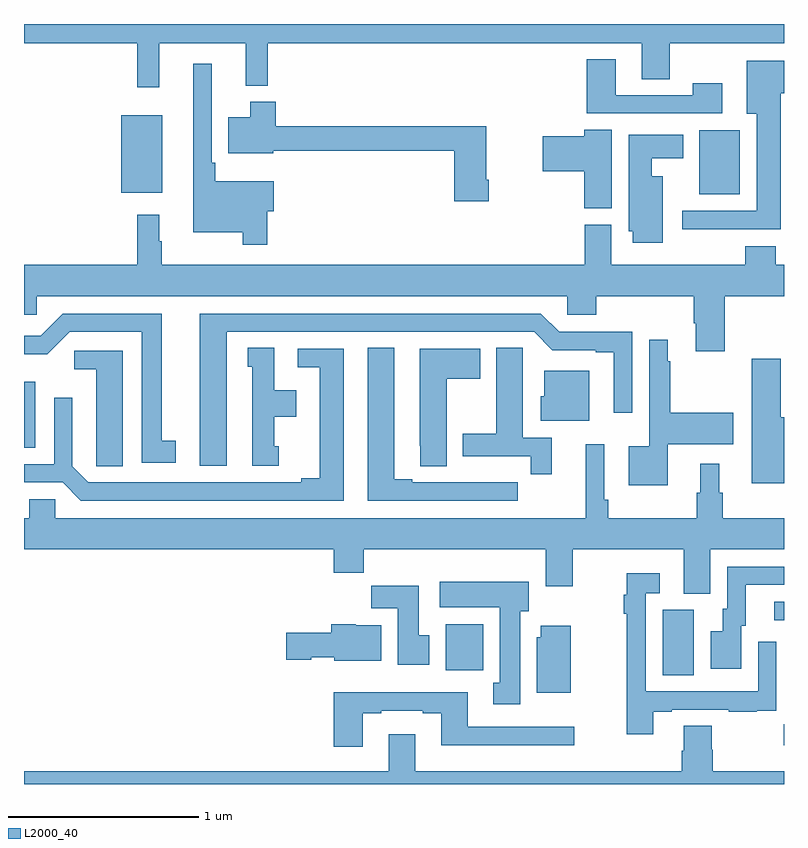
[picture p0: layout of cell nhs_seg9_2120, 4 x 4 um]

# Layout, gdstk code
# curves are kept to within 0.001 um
import gdstk
lib = gdstk.Library(unit=1e-6, precision=1e-09)
def R(c, l, rs):  # rectangles x0, y0, x1, y1
    for r in rs: c.add(gdstk.rectangle(r[:2], r[2:], *l))
def P(c, l, *ps):  # polygons
    for p in ps: c.add(gdstk.Polygon(p, *l))
L2000_40 = (2000, 40)

nhs_seg9_2120 = lib.new_cell('nhs_seg9_2120')
R(nhs_seg9_2120, L2000_40, [(234.999,1212.704,235,1212.814), (234.362,1213.072,234.526,1213.416), (233.219,1213.1,233.416,1213.342), (234.948,1213.362,235,1213.458), (231,1214.269,231.058,1214.617), (234.554,1215.605,234.766,1215.94), (231.512,1215.611,231.727,1216.021)])
P(nhs_seg9_2120, L2000_40, [(231.713,1216.4),(232.166,1216.4),(232.166,1216.175),(232.283,1216.175),(232.283,1216.4),(234.251,1216.4),(234.251,1216.21),(234.399,1216.21),(234.399,1216.4),(235,1216.4),(235,1216.5),(231,1216.5),(231,1216.4),(231.595,1216.4),(231.595,1216.167),(231.713,1216.167)],
  [(234.676,1216.189),(234.52,1216.189),(234.52,1216.125),(234.115,1216.125),(234.115,1216.315),(233.963,1216.315),(233.963,1216.029),(234.676,1216.029)],
  [(234.983,1216.136),(235,1216.136),(235,1216.306),(234.803,1216.306),(234.803,1216.028),(234.857,1216.028),(234.857,1215.516),(234.465,1215.516),(234.465,1215.419),(234.983,1215.419)],
  [(232.28,1215.515),(232.315,1215.515),(232.315,1215.673),(232.007,1215.673),(232.007,1215.769),(231.987,1215.769),(231.987,1216.291),(231.89,1216.291),(231.89,1215.404),(232.152,1215.404),(232.152,1215.339),(232.28,1215.339)],
  [(233.447,1215.679),(233.434,1215.679),(233.434,1215.961),(232.325,1215.961),(232.325,1216.09),(232.19,1216.09),(232.19,1216.009),(232.076,1216.009),(232.076,1215.821),(232.312,1215.821),(232.312,1215.832),(233.264,1215.832),(233.264,1215.567),(233.447,1215.567)],
  [(234.094,1215.944),(233.948,1215.944),(233.948,1215.908),(233.73,1215.908),(233.73,1215.725),(233.948,1215.725),(233.948,1215.529),(234.094,1215.529)],
  [(234.361,1215.7),(234.304,1215.7),(234.304,1215.794),(234.469,1215.794),(234.469,1215.916),(234.182,1215.916),(234.182,1215.408),(234.203,1215.408),(234.203,1215.348),(234.361,1215.348)],
  [(234.689,1215.068),(235,1215.068),(235,1215.232),(234.956,1215.232),(234.956,1215.331),(234.796,1215.331),(234.796,1215.232),(234.091,1215.232),(234.091,1215.444),(233.951,1215.444),(233.951,1215.232),(231.724,1215.232),(231.724,1215.356),(231.712,1215.356),(231.712,1215.496),(231.595,1215.496),(231.595,1215.232),(231,1215.232),(231,1214.97),(231.066,1214.97),(231.066,1215.068),(233.859,1215.068),(233.859,1214.97),(234.011,1214.97),(234.011,1215.068),(234.524,1215.068),(234.524,1214.926),(234.536,1214.926),(234.536,1214.778),(234.689,1214.778)],
  [(231.799,1214.306),(231.724,1214.306),(231.724,1214.976),(231.204,1214.976),(231.087,1214.859),(231,1214.859),(231,1214.763),(231.122,1214.762),(231.24,1214.88),(231.62,1214.88),(231.62,1214.19),(231.799,1214.19)],
  [(232.066,1214.88),(233.685,1214.88),(233.781,1214.784),(234.008,1214.784),(234.008,1214.772),(234.104,1214.772),(234.104,1214.454),(234.201,1214.454),(234.201,1214.88),(233.817,1214.88),(233.721,1214.976),(231.926,1214.976),(231.926,1214.175),(232.066,1214.175)],
  [(234.388,1214.288),(234.733,1214.288),(234.733,1214.454),(234.4,1214.454),(234.4,1214.726),(234.388,1214.726),(234.388,1214.839),(234.291,1214.839),(234.291,1214.278),(234.182,1214.278),(234.182,1214.072),(234.388,1214.072)],
  [(233.777,1214.322),(233.626,1214.322),(233.626,1214.684),(233.625,1214.684),(233.625,1214.795),(233.486,1214.795),(233.486,1214.343),(233.309,1214.343),(233.309,1214.226),(233.668,1214.226),(233.668,1214.13),(233.777,1214.13)],
  [(233.599,1214.088),(233.486,1214.088),(233.486,1214.089),(233.32,1214.089),(233.32,1214.088),(233.044,1214.088),(233.044,1214.103),(232.948,1214.103),(232.948,1214.795),(232.808,1214.795),(232.808,1213.992),(233.599,1213.992)],
  [(232.342,1214.277),(232.318,1214.277),(232.318,1214.432),(232.432,1214.432),(232.432,1214.572),(232.318,1214.572),(232.318,1214.795),(232.178,1214.795),(232.178,1214.697),(232.202,1214.697),(232.202,1214.175),(232.342,1214.175)],
  [(233.224,1214.632),(233.401,1214.632),(233.401,1214.791),(233.084,1214.791),(233.084,1214.281),(233.085,1214.281),(233.085,1214.173),(233.224,1214.173)],
  [(232.684,1214.79),(232.44,1214.79),(232.44,1214.694),(232.556,1214.694),(232.556,1214.108),(232.46,1214.108),(232.46,1214.088),(231.339,1214.088),(231.255,1214.172),(231.255,1214.533),(231.159,1214.533),(231.159,1214.184),(231,1214.184),(231,1214.088),(231.203,1214.088),(231.299,1213.992),(232.684,1213.992)],
  [(231.52,1214.781),(231.264,1214.781),(231.264,1214.684),(231.38,1214.684),(231.38,1214.281),(231.381,1214.281),(231.381,1214.173),(231.52,1214.173)],
  [(235,1214.43),(234.983,1214.43),(234.983,1214.737),(234.829,1214.737),(234.829,1214.542),(234.83,1214.542),(234.83,1214.082),(235,1214.082)],
  [(233.974,1214.674),(233.738,1214.674),(233.738,1214.541),(233.72,1214.541),(233.72,1214.411),(233.974,1214.411)],
  [(234.613,1213.736),(235,1213.736),(235,1213.9),(234.677,1213.9),(234.677,1214.034),(234.658,1214.034),(234.658,1214.185),(234.56,1214.185),(234.56,1214.034),(234.541,1214.034),(234.541,1213.9),(234.074,1213.9),(234.074,1213.996),(234.054,1213.996),(234.054,1214.287),(233.957,1214.287),(233.957,1213.9),(231.165,1213.9),(231.165,1213.998),(231.027,1213.998),(231.027,1213.9),(231,1213.9),(231,1213.736),(232.631,1213.736),(232.631,1213.612),(232.787,1213.612),(232.787,1213.736),(233.747,1213.736),(233.747,1213.542),(233.887,1213.542),(233.887,1213.736),(234.473,1213.736),(234.473,1213.501),(234.613,1213.501)],
  [(234.775,1213.332),(234.799,1213.332),(234.799,1213.548),(235,1213.548),(235,1213.644),(234.702,1213.644),(234.702,1213.422),(234.677,1213.422),(234.677,1213.303),(234.614,1213.303),(234.614,1213.107),(234.775,1213.107)],
  [(234.313,1212.879),(234.409,1212.879),(234.409,1212.891),(234.709,1212.891),(234.709,1212.879),(234.857,1212.879),(234.857,1212.885),(234.959,1212.885),(234.959,1212.994),(234.96,1212.994),(234.96,1213.249),(234.864,1213.249),(234.864,1212.987),(234.273,1212.987),(234.273,1213.503),(234.346,1213.503),(234.346,1213.609),(234.172,1213.609),(234.172,1213.496),(234.157,1213.496),(234.157,1213.396),(234.172,1213.396),(234.172,1212.762),(234.313,1212.762)],
  [(233.611,1213.41),(233.656,1213.41),(233.656,1213.564),(233.187,1213.564),(233.187,1213.43),(233.504,1213.43),(233.504,1213.034),(233.471,1213.034),(233.471,1212.921),(233.611,1212.921)],
  [(233.134,1213.284),(233.077,1213.284),(233.077,1213.543),(232.828,1213.543),(232.828,1213.424),(232.967,1213.424),(232.967,1213.128),(233.134,1213.128)],
  [(232.879,1213.336),(232.746,1213.336),(232.746,1213.342),(232.616,1213.342),(232.616,1213.296),(232.38,1213.296),(232.38,1213.154),(232.512,1213.154),(232.512,1213.166),(232.632,1213.166),(232.632,1213.148),(232.879,1213.148)],
  [(233.878,1213.333),(233.72,1213.333),(233.72,1213.272),(233.699,1213.272),(233.699,1212.98),(233.878,1212.98)],
  [(232.783,1212.873),(232.879,1212.873),(232.879,1212.885),(233.099,1212.885),(233.099,1212.873),(233.195,1212.873),(233.195,1212.704),(233.896,1212.704),(233.896,1212.801),(233.335,1212.801),(233.335,1212.982),(232.631,1212.982),(232.631,1212.696),(232.783,1212.696)],
  [(234.473,1212.806),(234.473,1212.674),(234.461,1212.674),(234.461,1212.568),(233.059,1212.568),(233.059,1212.763),(232.919,1212.763),(232.919,1212.568),(231,1212.568),(231,1212.5),(235,1212.5),(235,1212.568),(234.626,1212.568),(234.626,1212.681),(234.621,1212.681),(234.621,1212.806)])

lib.write_gds('nhs_seg9_2120.gds')
